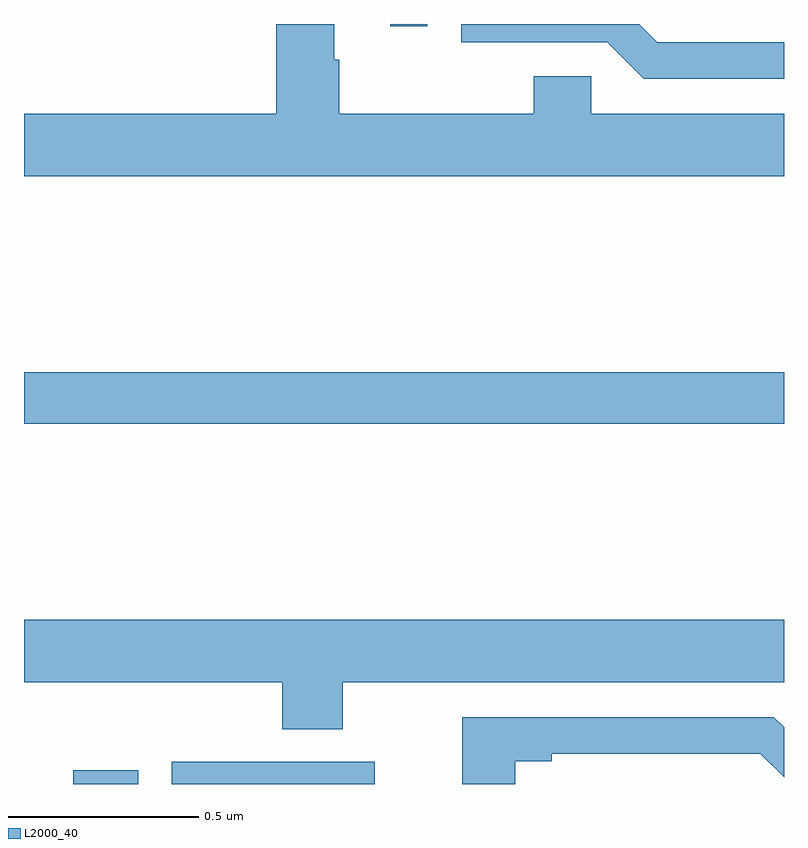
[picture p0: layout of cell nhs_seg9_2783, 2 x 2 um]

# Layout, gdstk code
import gdstk
lib = gdstk.Library(unit=1e-6, precision=1e-09)
def R(c, l, rs):  # rectangles x0, y0, x1, y1
    for r in rs: c.add(gdstk.rectangle(r[:2], r[2:], *l))
def P(c, l, *ps):  # polygons
    for p in ps: c.add(gdstk.Polygon(p, *l))
L2000_40 = (2000, 40)

nhs_seg9_2783 = lib.new_cell('nhs_seg9_2783')
R(nhs_seg9_2783, L2000_40, [(145.13,1181.5,145.3,1181.536), (145.389,1181.5,145.923,1181.559), (145,1182.448,147,1182.584), (145.964,1183.494,146.061,1183.5)])
P(nhs_seg9_2783, L2000_40, [(147,1183.264),(146.493,1183.264),(146.493,1183.362),(146.342,1183.362),(146.342,1183.264),(145.829,1183.264),(145.829,1183.406),(145.816,1183.406),(145.816,1183.5),(145.664,1183.5),(145.664,1183.264),(145,1183.264),(145,1183.1),(147,1183.1)],
  [(147,1183.452),(146.667,1183.452),(146.619,1183.5),(146.151,1183.5),(146.151,1183.452),(146.535,1183.452),(146.631,1183.356),(147,1183.356)],
  [(145.839,1181.768),(147,1181.768),(147,1181.932),(145,1181.932),(145,1181.768),(145.679,1181.768),(145.679,1181.644),(145.839,1181.644)],
  [(146.293,1181.56),(146.389,1181.56),(146.389,1181.58),(146.937,1181.58),(147,1181.518),(147,1181.649),(146.973,1181.676),(146.153,1181.676),(146.153,1181.5),(146.293,1181.5)])

lib.write_gds('nhs_seg9_2783.gds')
